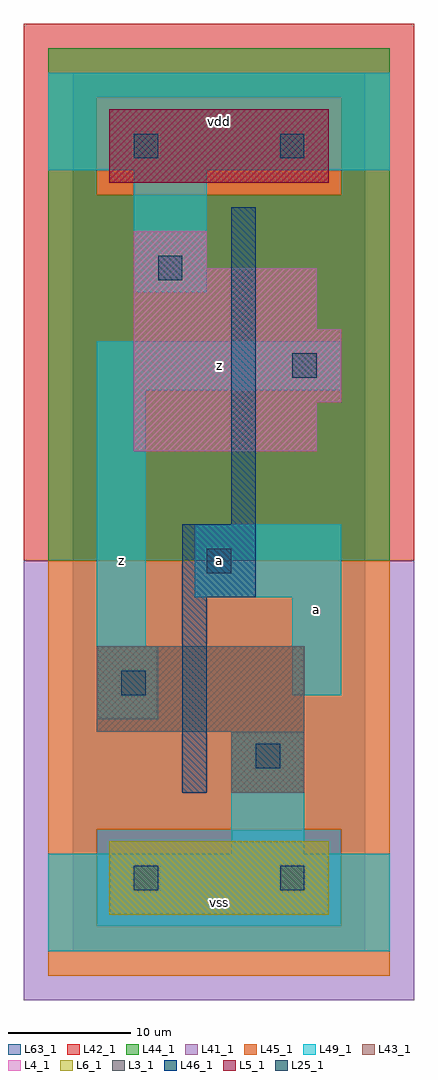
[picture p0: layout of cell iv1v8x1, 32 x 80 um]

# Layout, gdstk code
import gdstk
lib = gdstk.Library(unit=1e-6, precision=1e-09)
def R(c, l, rs):  # rectangles x0, y0, x1, y1
    for r in rs: c.add(gdstk.rectangle(r[:2], r[2:], *l))
L3_1 = (3, 1)
L4_1 = (4, 1)
L5_1 = (5, 1)
L6_1 = (6, 1)
L25_1 = (25, 1)
L41_1 = (41, 1)
L42_1 = (42, 1)
L43_1 = (43, 1)
L44_1 = (44, 1)
L45_1 = (45, 1)
L46_1 = (46, 1)
L49_1 = (49, 1)
L63_1 = (63, 1)

iv1v8x1 = lib.new_cell('iv1v8x1')
R(iv1v8x1, L3_1, [(13,13,19,18), (2,18,19,25)])
R(iv1v8x1, L4_1, [(5,41,20,45), (5,45,22,51), (5,51,20,56), (5,56,11,59)])
R(iv1v8x1, L5_1, [(3,63,21,69)])
R(iv1v8x1, L6_1, [(3,3,21,9), (3,3,21,9)])
R(iv1v8x1, L25_1, [(5,5,7,7), (17,5,19,7), (15,15,17,17), (4,21,6,23), (11,31,13,33), (18,47,20,49), (7,55,9,57), (5,65,7,67), (17,65,19,67)])
R(iv1v8x1, L41_1, [(-4,-4,28,32)])
R(iv1v8x1, L42_1, [(-4,32,28,76)])
R(iv1v8x1, L43_1, [(3,3,21,9), (13,13,19,18), (2,18,19,25), (5,41,20,45), (5,45,22,51), (5,51,20,56), (5,56,11,59), (3,63,21,69)])
R(iv1v8x1, L44_1, [(2,2,22,10), (-2,32,26,62), (-2,62,2,70), (22,62,26,70), (-2,70,26,74)])
R(iv1v8x1, L45_1, [(-2,-2,26,2), (-2,2,2,10), (22,2,26,10), (-2,10,26,32), (2,62,22,70)])
R(iv1v8x1, L46_1, [(9,13,11,29), (9,29,15,35), (13,35,15,61)])
R(iv1v8x1, L49_1, [(-2,0,26,8), (13,8,19,18), (2,19,7,25), (18,21,22,29), (2,25,6,46), (10,29,22,35), (2,46,22,50), (5,54,11,64), (-2,64,26,72)])
R(iv1v8x1, L63_1, [(0,0,24,72)])
iv1v8x1.add(gdstk.Label('z', (4,32), layer=49, texttype=1))
iv1v8x1.add(gdstk.Label('vss', (12,4), layer=49, texttype=1))
iv1v8x1.add(gdstk.Label('a', (12,32), layer=49, texttype=1))
iv1v8x1.add(gdstk.Label('z', (12,48), layer=49, texttype=1))
iv1v8x1.add(gdstk.Label('vdd', (12,68), layer=49, texttype=1))
iv1v8x1.add(gdstk.Label('a', (20,28), layer=49, texttype=1))

lib.write_gds('iv1v8x1.gds')
